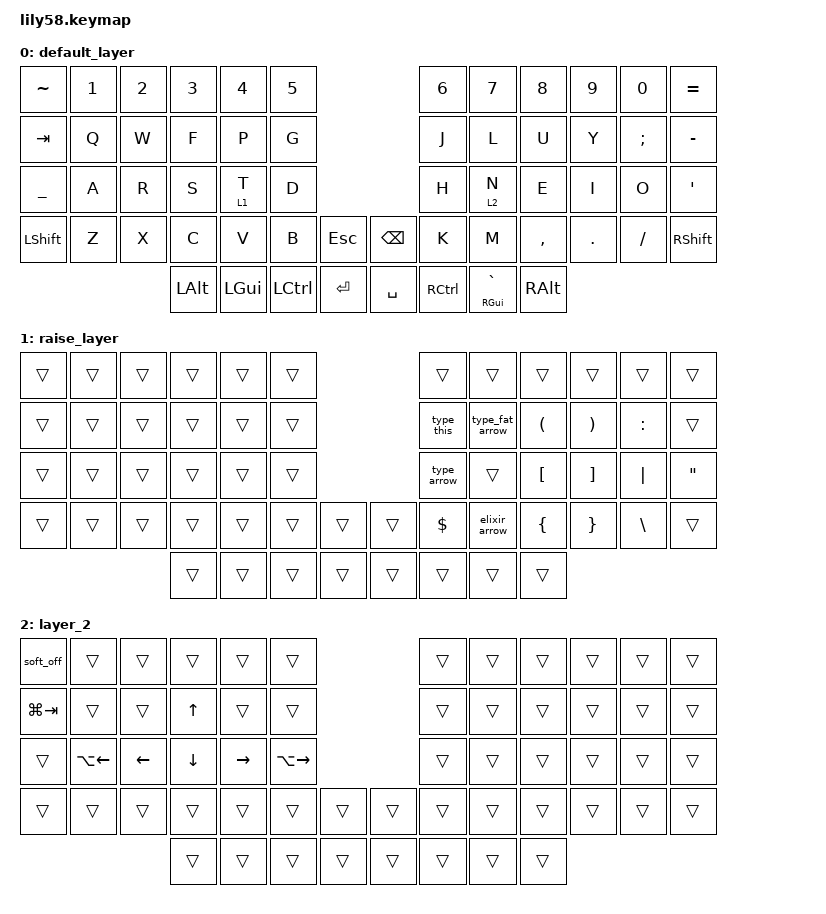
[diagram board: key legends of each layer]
/*
 * Copyright (c) 2020 The ZMK Contributors
 *
 * SPDX-License-Identifier: MIT
 */

#include <behaviors.dtsi>
#include <dt-bindings/zmk/keys.h>

/ {
    macros {
        type_this: type_this {
            compatible = "zmk,behavior-macro";
            #binding-cells = <0>;
            bindings = <&kp DLLR &kp T &kp H &kp I &kp S>;
            label = "TYPE_THIS";
        };

        type_arrow: type_arrow {
            compatible = "zmk,behavior-macro";
            #binding-cells = <0>;
            bindings = <&kp MINUS &kp GT>;
            label = "TYPE_ARROW";
        };

        type_fat_arrow: type_fat_arrow {
            compatible = "zmk,behavior-macro";
            #binding-cells = <0>;
            bindings = <&kp EQUAL &kp GT>;
            label = "TYPE_FAT_ARROW";
        };

        elixir_arrow: elixir_arrow {
            compatible = "zmk,behavior-macro";
            #binding-cells = <0>;
            bindings = <&kp PIPE &kp GT>;
            label = "ELIXIR_ARROW";
        };
    };

    keymap {
        compatible = "zmk,keymap";

        default_layer {
            // ------------------------------------------------------------------------------------------------------------
            // |  ESC  |  1  |  2  |  3   |  4   |  5   |                   |  6   |  7    |  8    |  9   |   0   |   `   |
            // |  TAB  |  Q  |  W  |  E   |  R   |  T   |                   |  Y   |  U    |  I    |  O   |   P   |   -   |
            // |  CTRL |  A  |  S  |  D   |  F   |  G   |                   |  H   |  J    |  K    |  L   |   ;   |   '   |
            // | SHIFT |  Z  |  X  |  C   |  V   |  B   |   "["  |  |  "]"  |  N   |  M    |  ,    |  .   |   /   | SHIFT |
            //                     | ALT  | GUI  | LOWER|  SPACE |  | ENTER | RAISE| BSPC  | GUI   |

            bindings = <
&kp TILDE  &kp N1  &kp N2  &kp N3    &kp N4    &kp N5                                  &kp N6     &kp N7               &kp N8         &kp N9   &kp N0    &kp EQUAL
&kp TAB    &kp Q   &kp W   &kp F     &kp P     &kp G                                   &kp J      &kp L                &kp U          &kp Y    &kp SEMI  &kp MINUS
&kp UNDER  &kp A   &kp R   &kp S     &lt 1 T   &kp D                                   &kp H      &lt 2 N              &kp E          &kp I    &kp O     &kp SQT
&kp LSHFT  &kp Z   &kp X   &kp C     &kp V     &kp B      &kp ESCAPE    &kp BACKSPACE  &kp K      &kp M                &kp COMMA      &kp DOT  &kp FSLH  &kp RSHFT
                           &kp LALT  &kp LGUI  &kp LCTRL  &kp ENTER     &kp SPACE      &kp RCTRL  &mt RIGHT_GUI GRAVE  &kp RIGHT_ALT
            >;
        };

        raise_layer {
            // ------------------------------------------------------------------------------------------------------------
            // |       |     |     |      |      |      |                   |      |       |       |      |       |       |
            // |   `   |  1  |  2  |  3   |  4   |  5   |                   |  6   |   7   |   8   |  9   |   0   |       |
            // |   F1  |  F2 |  F3 |  F4  |  F5  |  F6  |                   |      |   <-  |   v   |  ^   |  ->   |       |
            // |   F7  |  F8 |  F9 |  F10 |  F11 |  F12 |        |  |       |  +   |   -   |   =   |  [   |   ]   |   \   |
            //                     |      |      |      |        |  |       |      |       |       |

            bindings = <
&trans  &trans  &trans  &trans  &trans  &trans                    &trans       &trans           &trans                &trans                 &trans         &trans
&trans  &trans  &trans  &trans  &trans  &trans                    &type_this   &type_fat_arrow  &kp LEFT_PARENTHESIS  &kp RIGHT_PARENTHESIS  &kp COLON      &trans
&trans  &trans  &trans  &trans  &trans  &trans                    &type_arrow  &trans           &kp LEFT_BRACKET      &kp RIGHT_BRACKET      &kp PIPE       &kp DOUBLE_QUOTES
&trans  &trans  &trans  &trans  &trans  &trans  &trans    &trans  &kp DOLLAR   &elixir_arrow    &kp LEFT_BRACE        &kp RIGHT_BRACE        &kp BACKSLASH  &trans
                        &trans  &trans  &trans  &trans    &trans  &trans       &trans           &trans
            >;
        };

        layer_2 {
            bindings = <
&soft_off    &trans        &trans    &trans          &trans     &trans                           &trans  &trans  &trans  &trans  &trans  &trans
&kp LG(TAB)  &trans        &trans    &kp UP_ARROW    &trans     &trans                           &trans  &trans  &trans  &trans  &trans  &trans
&trans       &kp LA(LEFT)  &kp LEFT  &kp DOWN_ARROW  &kp RIGHT  &kp LA(RIGHT)                    &trans  &trans  &trans  &trans  &trans  &trans
&trans       &trans        &trans    &trans          &trans     &trans         &trans    &trans  &trans  &trans  &trans  &trans  &trans  &trans
                                     &trans          &trans     &trans         &trans    &trans  &trans  &trans  &trans
            >;
        };
    };
};
